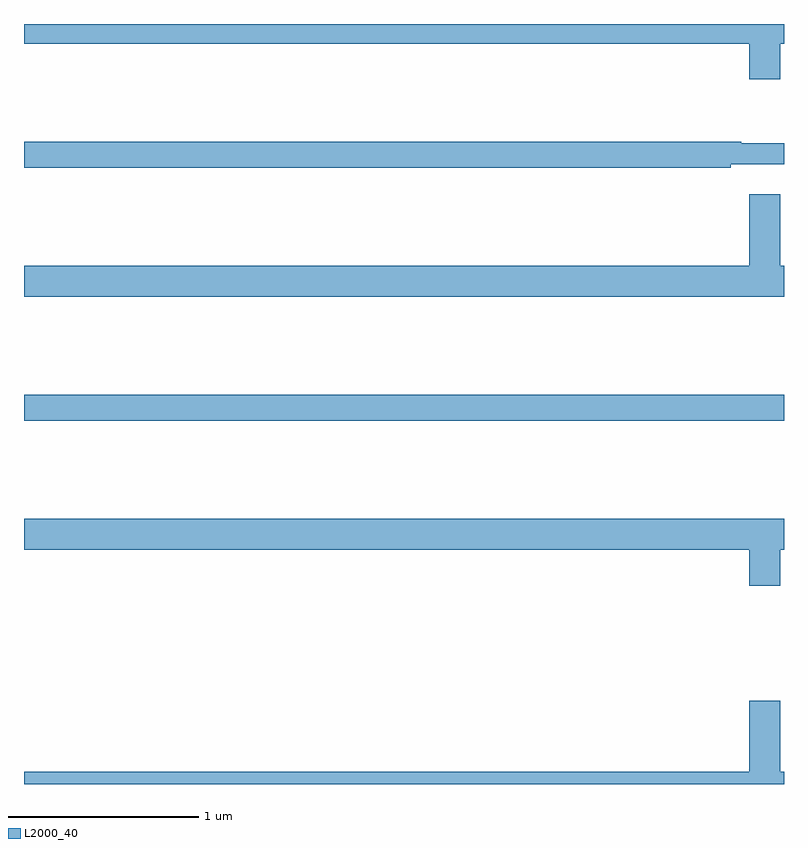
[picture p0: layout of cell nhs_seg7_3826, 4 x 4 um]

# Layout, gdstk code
import gdstk
lib = gdstk.Library(unit=1e-6, precision=1e-09)
def R(c, l, rs):  # rectangles x0, y0, x1, y1
    for r in rs: c.add(gdstk.rectangle(r[:2], r[2:], *l))
def P(c, l, *ps):  # polygons
    for p in ps: c.add(gdstk.Polygon(p, *l))
L2000_40 = (2000, 40)

nhs_seg7_3826 = lib.new_cell('nhs_seg7_3826')
R(nhs_seg7_3826, L2000_40, [(353,1051.912,357,1052.048)])
P(nhs_seg7_3826, L2000_40, [(356.98,1053.896),(357,1053.896),(357,1054),(353,1054),(353,1053.896),(356.816,1053.896),(356.816,1053.708),(356.98,1053.708)],
  [(356.72,1053.263),(357,1053.263),(357,1053.373),(356.776,1053.373),(356.776,1053.38),(353,1053.38),(353,1053.244),(356.72,1053.244)],
  [(357,1052.728),(356.98,1052.728),(356.98,1053.103),(356.816,1053.103),(356.816,1052.728),(353,1052.728),(353,1052.564),(357,1052.564)],
  [(356.98,1051.232),(357,1051.232),(357,1051.396),(353,1051.396),(353,1051.232),(356.816,1051.232),(356.816,1051.044),(356.98,1051.044)],
  [(357,1050.064),(356.98,1050.064),(356.98,1050.439),(356.816,1050.439),(356.816,1050.064),(353,1050.064),(353,1050),(357,1050)])

lib.write_gds('nhs_seg7_3826.gds')
